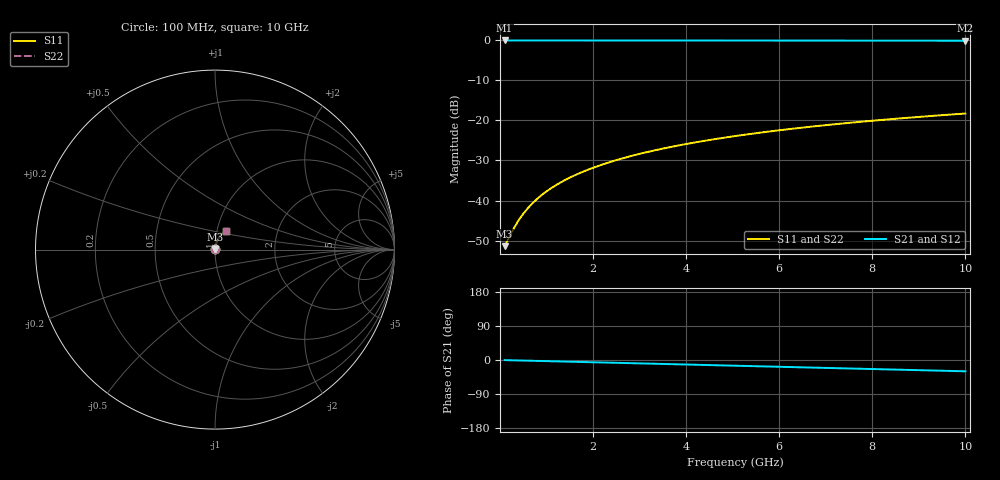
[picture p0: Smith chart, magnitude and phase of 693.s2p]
# Hz S RI R 50.00
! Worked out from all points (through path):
!   100 points, 100 MHz to 10 GHz, reference 50 ohm
!   highest |S21| = -0.02 dB at 100 MHz (marker M1); lowest = -0.1 dB at 10 GHz (marker M2)
!   group delay of S21, straight-line fit = 8.28 ps
!   lowest |S11| = -51.4 dB at 100 MHz (marker M3), VSWR 1.01, Z = 50.2 + j0.127 ohm
!   |S11| at or under -10 dB: start of sweep to end of sweep
!   |S22| runs from -51.4 to -18.3 dB; largest |S21 - S12| = 0
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1e8  0.00237 0.00127  0.9976 -0.00519  0.9976 -0.00519  0.00237 0.00127
3e8  0.00245 0.00379  0.9975 -0.0156  0.9975 -0.0156  0.00245 0.00379
4e8  0.0025 0.00506  0.9974 -0.0207  0.9974 -0.0207  0.0025 0.00506
5e8  0.00257 0.00632  0.9972 -0.0259  0.9972 -0.0259  0.00257 0.00632
6e8  0.00265 0.00759  0.9971 -0.0311  0.9971 -0.0311  0.00265 0.00759
7e8  0.00274 0.00885  0.9969 -0.0363  0.9969 -0.0363  0.00274 0.00885
8e8  0.00284 0.0101  0.9966 -0.0415  0.9966 -0.0415  0.00284 0.0101
9e8  0.00296 0.0114  0.9964 -0.0467  0.9964 -0.0467  0.00296 0.0114
1e9  0.00309 0.0126  0.9961 -0.0518  0.9961 -0.0518  0.00309 0.0126
1.2e9  0.00338 0.0151  0.9955 -0.0622  0.9955 -0.0622  0.00338 0.0151
1.5e9  0.00392 0.0189  0.9943 -0.0777  0.9943 -0.0777  0.00392 0.0189
1.8e9  0.00458 0.0226  0.9929 -0.0932  0.9929 -0.0932  0.00458 0.0226
2.1e9  0.00535 0.0263  0.9912 -0.1087  0.9912 -0.1087  0.00535 0.0263
2.5e9  0.00655 0.0312  0.9885 -0.1292  0.9885 -0.1292  0.00655 0.0312
2.9e9  0.00796 0.0361  0.9854 -0.1498  0.9854 -0.1498  0.00796 0.0361
3.4e9  0.01 0.0421  0.9809 -0.1753  0.9809 -0.1753  0.01 0.0421
4.2e9  0.0139 0.0514  0.9723 -0.2159  0.9723 -0.2159  0.0139 0.0514
5.1e9  0.0192 0.0614  0.9604 -0.261  0.9604 -0.261  0.0192 0.0614
5.9e9  0.0247 0.0699  0.9481 -0.3006  0.9481 -0.3006  0.0247 0.0699
6.7e9  0.0309 0.0779  0.934 -0.3395  0.934 -0.3395  0.0309 0.0779
8.4e9  0.0461 0.093  0.8986 -0.4199  0.8986 -0.4199  0.0461 0.093
1e10  0.0627 0.1046  0.8587 -0.4922  0.8587 -0.4922  0.0627 0.1046
